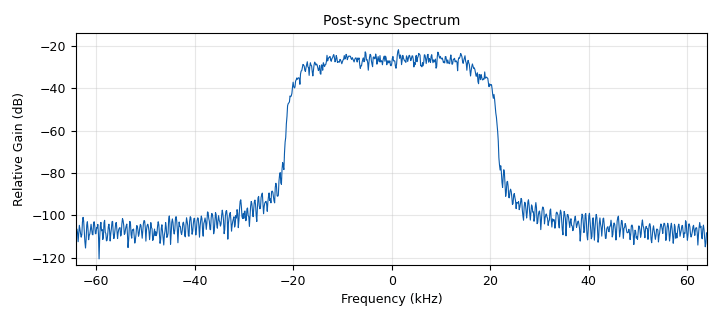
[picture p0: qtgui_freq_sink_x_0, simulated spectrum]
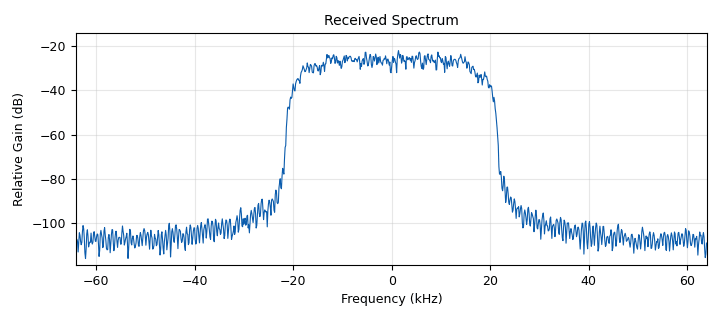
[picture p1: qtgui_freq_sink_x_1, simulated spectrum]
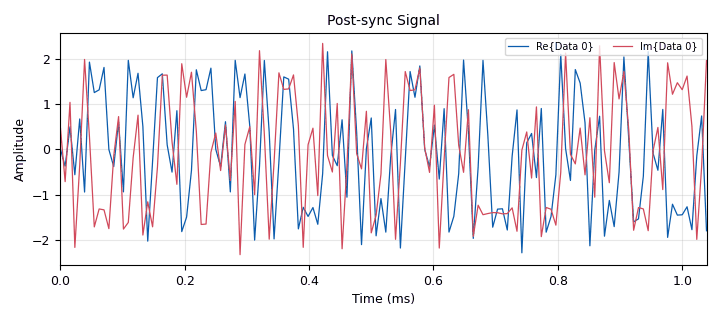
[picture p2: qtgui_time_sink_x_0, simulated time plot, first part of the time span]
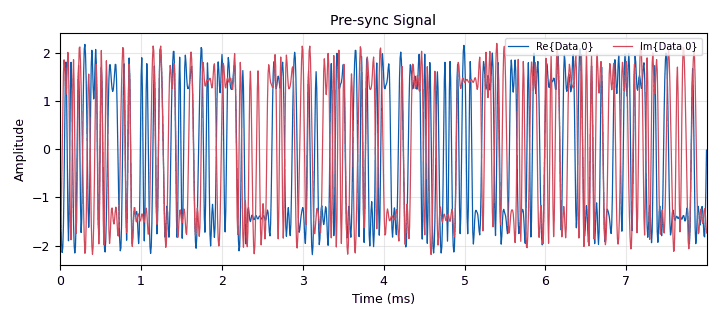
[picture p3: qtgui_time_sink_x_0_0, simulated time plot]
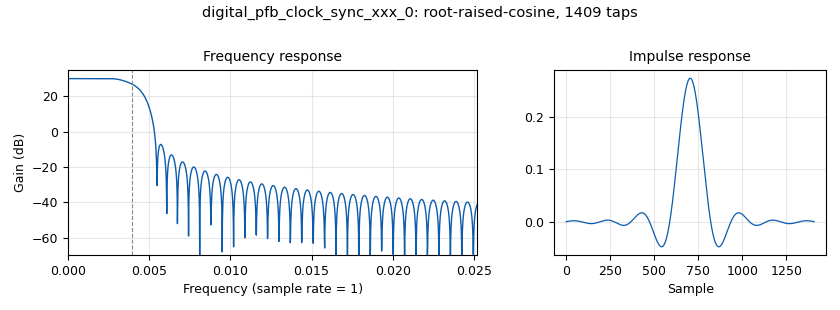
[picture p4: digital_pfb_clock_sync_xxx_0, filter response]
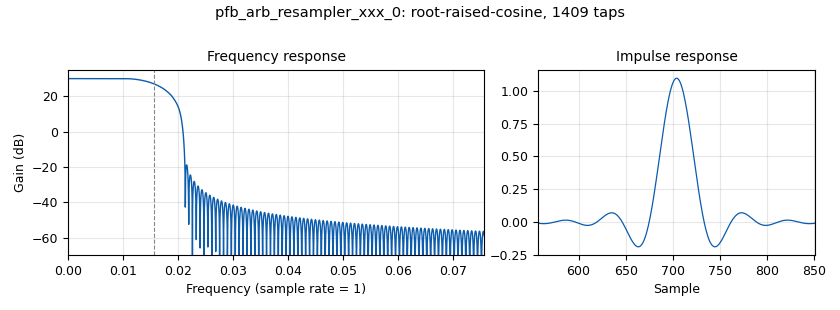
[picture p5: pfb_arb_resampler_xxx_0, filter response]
options:
  parameters:
    category: Custom
    generate_options: qt_gui
    id: pam_sync
    output_language: python
  states: {}

blocks:
- name: const
  id: variable
  parameters:
    value: digital.qpsk_constellation()
  states: {}
- name: freq_bw
  id: variable_qtgui_range
  parameters:
    gui_hint: 4,2,1,1
    label: FLL Bandwidth
    orient: Qt.Horizontal
    start: '0'
    step: '.001'
    stop: '.05'
    value: '0'
  states: {}
- name: freq_offset
  id: variable_qtgui_range
  parameters:
    gui_hint: 2,2,1,1
    label: Frequency Offset
    orient: Qt.Horizontal
    start: '-.5'
    step: '.01'
    stop: '.5'
    value: '0'
  states: {}
- name: interpratio
  id: variable_qtgui_range
  parameters:
    gui_hint: 3,2,1,1
    label: Timing Offset
    orient: Qt.Horizontal
    start: '.99'
    step: '0.0001'
    stop: '1.01'
    value: '1'
  states: {}
- name: nfilts
  id: variable
  parameters:
    value: '32'
  states: {}
- name: noise_amp
  id: variable_qtgui_range
  parameters:
    gui_hint: 1,2,1,1
    label: Channel Noise
    orient: Qt.Horizontal
    start: '0'
    step: '.001'
    stop: '1'
    value: '0'
  states: {}
- name: phase_bw
  id: variable_qtgui_range
  parameters:
    gui_hint: 7,2,1,1
    label: Costas Loop (Phase) Bandwidth
    orient: Qt.Horizontal
    start: '0'
    step: '.001'
    stop: '.1'
    value: '0'
  states: {}
- name: rolloff
  id: variable
  parameters:
    value: '0.35'
  states: {}
- name: rrctaps
  id: variable
  parameters:
    value: firdes.root_raised_cosine(nfilts,1.0,1.0/(nfilts*spb), rolloff, int(11*spb*nfilts))
  states: {}
- name: samp_rate
  id: variable
  parameters:
    value: '128000'
  states: {}
- name: sig_amp
  id: variable
  parameters:
    value: '1.0'
  states: {}
- name: spb
  id: variable
  parameters:
    value: '4.0'
  states: {}
- name: time_bw
  id: variable_qtgui_range
  parameters:
    gui_hint: 5,2,1,1
    label: Timing Loop BW
    orient: Qt.Horizontal
    start: '0'
    step: '.001'
    stop: '.1'
    value: '0'
  states: {}
- name: analog_random_source_x
  id: analog_random_source_x
  parameters:
    max: const.arity()
    min: '0'
    num_samps: '10000000'
    repeat: 'True'
    type: byte
  states: {}
- name: blocks_multiply_const_vxx_0
  id: blocks_multiply_const_vxx
  parameters:
    const: sig_amp
    type: complex
  states: {}
- name: blocks_throttle_0
  id: blocks_throttle
  parameters:
    samples_per_second: samp_rate
    type: complex
  states: {}
- name: channels_channel_model_0
  id: channels_channel_model
  parameters:
    epsilon: interpratio
    freq_offset: freq_offset
    noise_voltage: noise_amp
    seed: '42'
    taps: '1.0'
  states: {}
- name: digital_chunks_to_symbols_xx
  id: digital_chunks_to_symbols_xx
  parameters:
    dimension: '1'
    in_type: byte
    out_type: complex
    symbol_table: const.points()
  states: {}
- name: digital_costas_loop_cc_0
  id: digital_costas_loop_cc
  parameters:
    order: const.arity()
    w: phase_bw
  states: {}
- name: digital_fll_band_edge_cc_0
  id: digital_fll_band_edge_cc
  parameters:
    filter_size: '44'
    rolloff: rolloff
    samps_per_sym: spb
    type: cc
    w: freq_bw
  states: {}
- name: digital_pfb_clock_sync_xxx_0
  id: digital_pfb_clock_sync_xxx
  parameters:
    filter_size: nfilts
    init_phase: '16'
    loop_bw: time_bw
    max_dev: '1.5'
    osps: '1'
    sps: spb
    taps: rrctaps
    type: ccf
  states: {}
- name: notebook
  id: qtgui_tab_widget
  parameters:
    gui_hint: 1,1,8,1
    label0: Synched Signal
    label1: Received Signal
    num_tabs: '2'
  states: {}
- name: pfb_arb_resampler_xxx_0
  id: pfb_arb_resampler_xxx
  parameters:
    atten: '100'
    nfilts: '32'
    rrate: spb
    taps: firdes.root_raised_cosine(nfilts, 1.0, 1.0/nfilts, rolloff, int(11*spb*nfilts))
    type: ccf
  states: {}
- name: qtgui_freq_sink_x_0
  id: qtgui_freq_sink_x
  parameters:
    autoscale: 'True'
    average: '0.2'
    bw: samp_rate
    fc: '0'
    fftsize: '1024'
    gui_hint: notebook@0
    name: Post-sync Spectrum
    showports: 'True'
    type: complex
    wintype: fft.window.WIN_BLACKMAN_hARRIS
  states: {}
- name: qtgui_freq_sink_x_1
  id: qtgui_freq_sink_x
  parameters:
    autoscale: 'True'
    average: '0.2'
    bw: samp_rate
    fc: '0'
    fftsize: '1024'
    gui_hint: notebook@1
    name: Received Spectrum
    showports: 'True'
    type: complex
    wintype: fft.window.WIN_BLACKMAN_hARRIS
  states: {}
- name: qtgui_time_sink_x_0
  id: qtgui_time_sink_x
  parameters:
    autoscale: 'True'
    color1: '"blue"'
    color2: '"red"'
    gui_hint: notebook@0
    label1: ''
    label2: ''
    name: Post-sync Signal
    size: '1024'
    srate: samp_rate
    type: complex
  states: {}
- name: qtgui_time_sink_x_0_0
  id: qtgui_time_sink_x
  parameters:
    autoscale: 'True'
    color1: '"blue"'
    color2: '"red"'
    gui_hint: notebook@1
    label1: ''
    label2: ''
    name: Pre-sync Signal
    size: '1024'
    srate: samp_rate
    type: complex
  states: {}

connections:
- [analog_random_source_x, '0', digital_chunks_to_symbols_xx, '0']
- [blocks_multiply_const_vxx_0, '0', blocks_throttle_0, '0']
- [blocks_throttle_0, '0', channels_channel_model_0, '0']
- [channels_channel_model_0, '0', digital_fll_band_edge_cc_0, '0']
- [channels_channel_model_0, '0', qtgui_freq_sink_x_1, '0']
- [channels_channel_model_0, '0', qtgui_time_sink_x_0_0, '0']
- [digital_chunks_to_symbols_xx, '0', pfb_arb_resampler_xxx_0, '0']
- [digital_costas_loop_cc_0, '0', qtgui_time_sink_x_0, '0']
- [digital_fll_band_edge_cc_0, '0', digital_pfb_clock_sync_xxx_0, '0']
- [digital_fll_band_edge_cc_0, '0', qtgui_freq_sink_x_0, '0']
- [digital_pfb_clock_sync_xxx_0, '0', digital_costas_loop_cc_0, '0']
- [pfb_arb_resampler_xxx_0, '0', blocks_multiply_const_vxx_0, '0']

metadata:
  file_format: 1
